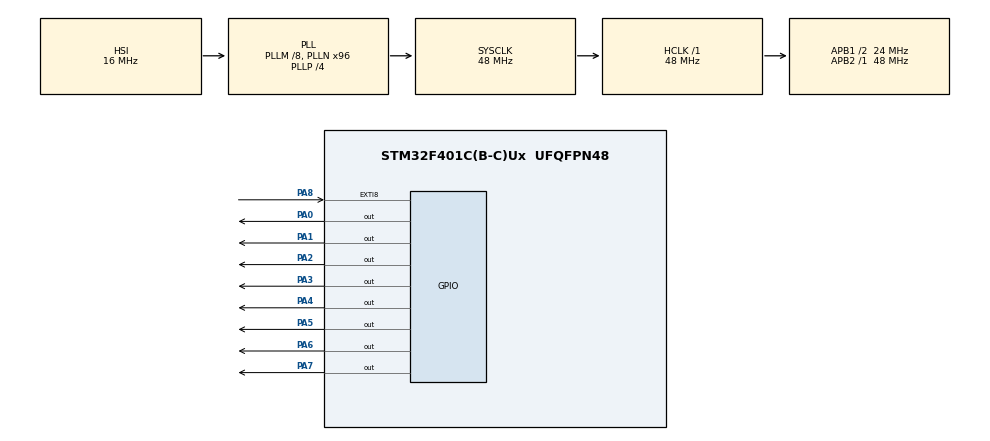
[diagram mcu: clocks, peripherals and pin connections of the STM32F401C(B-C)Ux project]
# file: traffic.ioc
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Mcu.Family=STM32F4
Mcu.Name=STM32F401C(B-C)Ux
Mcu.Package=UFQFPN48
NVIC.EXTI9_5_IRQn=true\:0\:0\:false\:false\:true\:true\:true\:true
NVIC.PriorityGroup=NVIC_PRIORITYGROUP_4
PA0-WKUP.Signal=GPIO_Output
PA1.Signal=GPIO_Output
PA2.Signal=GPIO_Output
PA3.Signal=GPIO_Output
PA4.Signal=GPIO_Output
PA5.Signal=GPIO_Output
PA6.Signal=GPIO_Output
PA7.Signal=GPIO_Output
PA8.GPIO_ModeDefaultEXTI=GPIO_MODE_IT_FALLING
PA8.GPIO_PuPd=GPIO_PULLUP
PA8.Signal=GPXTI8
PH0\ -\ OSC_IN.Mode=HSE-External-Oscillator
PH0\ -\ OSC_IN.Signal=RCC_OSC_IN
PH1\ -\ OSC_OUT.Mode=HSE-External-Oscillator
PH1\ -\ OSC_OUT.Signal=RCC_OSC_OUT
ProjectManager.HeapSize=0x200
ProjectManager.StackSize=0x400
ProjectManager.TargetToolchain=STM32CubeIDE
RCC.48MHZClocksFreq_Value=48000000
RCC.AHBFreq_Value=48000000
RCC.APB1CLKDivider=RCC_HCLK_DIV2
RCC.APB1Freq_Value=24000000
RCC.APB1TimFreq_Value=48000000
RCC.APB2Freq_Value=48000000
RCC.APB2TimFreq_Value=48000000
RCC.CortexFreq_Value=48000000
RCC.HCLKFreq_Value=48000000
RCC.HSE_VALUE=25000000
RCC.HSI_VALUE=16000000
RCC.LSE_VALUE=32768
RCC.PLLM=8
RCC.PLLN=96
RCC.PLLP=RCC_PLLP_DIV4
RCC.SYSCLKFreq_VALUE=48000000
RCC.SYSCLKSource=RCC_SYSCLKSOURCE_PLLCLK
RCC.VCOOutputFreq_Value=192000000
board=custom

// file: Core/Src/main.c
/* USER CODE BEGIN Header */
/**
 ******************************************************************************
 * @file           : main.c
 * @brief          : Main program body
 ******************************************************************************
 * @attention
 *
 * Copyright (c) 2025 STMicroelectronics.
 * All rights reserved.
 *
 * This software is licensed under terms that can be found in the LICENSE file
 * in the root directory of this software component.
 * If no LICENSE file comes with this software, it is provided AS-IS.
 *
 ******************************************************************************
 */
/* USER CODE END Header */
#include "main.h"
#include "gpio.h"

/* USER CODE BEGIN PTD */
typedef enum {
	IDLE ,
	NS_GREEN_EW_RED,
	NS_YELLOW_EW_RED,
	NS_RED_EW_GREEN,
	NS_RED_EW_YELLOW,
	NS_RED_EW_RED,
	PED_CROSSING,
} TrafficState;
TrafficState currentState = IDLE;

/* USER CODE END PTD */

/* USER CODE BEGIN PD */
#define GREEN_TIME 5000     // Duration for the green light in milliseconds
#define YELLOW_TIME 2000    // Duration for the yellow light in milliseconds
#define PED_TIME 8000       // Duration for pedestrian crossing in milliseconds
#define ALL_RED_TIME 1000   // Duration for all lights red (safety delay) in milliseconds

// Define GPIO pins for traffic light LEDs
#define NS_GREEN_LED GPIO_PIN_2  // GPIO pin for North-South green light
#define NS_YELLOW_LED GPIO_PIN_1 // GPIO pin for North-South yellow light
#define NS_RED_LED GPIO_PIN_0    // GPIO pin for North-South red light
#define EW_GREEN_LED GPIO_PIN_5  // GPIO pin for East-West green light
#define EW_YELLOW_LED GPIO_PIN_6 // GPIO pin for East-West yellow light
#define EW_RED_LED GPIO_PIN_7    // GPIO pin for East-West red light
#define PED_GREEN_LED GPIO_PIN_3 // GPIO pin for pedestrian green light
#define PED_RED_LED GPIO_PIN_4   // GPIO pin for pedestrian red light

// Define GPIO pin for pedestrian button
#define PED_BUTTON_PIN GPIO_PIN_8 // GPIO pin for pedestrian crossing button
/* USER CODE END PD */

/* USER CODE BEGIN PV */
// Global variables

/**
 * @brief Flag to indicate a pedestrian crossing request.
 *        Set to 1 when the pedestrian button is pressed, and cleared after handling the request.
 */
volatile uint8_t PedestrianRequest = 0;

/**
 * @brief Stores the timestamp of the last state transition.
 *        Used to calculate the elapsed time for each traffic light state.
 */
uint32_t lastTransitionTime = 0;

/**
 * @brief Determines the next direction for the traffic lights after the all-red state.
 *        - 1: East-West direction will turn green next.
 *        - 0: North-South direction will turn green next.
 */
uint8_t nextDirection = 1; // Default set to East-West as the next green direction after North-South

/* USER CODE END PV */

void SystemClock_Config(void);
/* USER CODE BEGIN PFP */
// Function prototypes for traffic light control system

/**
 * @brief Implements the Finite State Machine (FSM) for the traffic light system.
 *        Handles state transitions based on timing and pedestrian requests.
 */
void trafficLightFSM(void);

/**
 * @brief Updates the traffic light LEDs based on the current state.
 *        Turns on/off the appropriate LEDs for the traffic lights and pedestrian signals.
 * @param state The current state of the traffic light system.
 */
void updateLights(TrafficState state);

/* USER CODE END PFP */

int main(void)
{

	/* MCU Configuration--------------------------------------------------------*/

	/* Reset of all peripherals, Initializes the Flash interface and the Systick. */
	HAL_Init();

	/* Configure the system clock */
	SystemClock_Config();

	/* Initialize all configured peripherals */
	MX_GPIO_Init();
	/* USER CODE BEGIN 2 */
	lastTransitionTime = HAL_GetTick();

	/* USER CODE END 2 */

	/* Infinite loop */
	/* USER CODE BEGIN WHILE */
	while (1)
	{
		trafficLightFSM();
		/* USER CODE END WHILE */

	}
}

void SystemClock_Config(void)
{
	RCC_OscInitTypeDef RCC_OscInitStruct = {0};
	RCC_ClkInitTypeDef RCC_ClkInitStruct = {0};

	/** Configure the main internal regulator output voltage
	 */
	__HAL_RCC_PWR_CLK_ENABLE();
	__HAL_PWR_VOLTAGESCALING_CONFIG(PWR_REGULATOR_VOLTAGE_SCALE2);

	/** Initializes the RCC Oscillators according to the specified parameters
	 * in the RCC_OscInitTypeDef structure.
	 */
	RCC_OscInitStruct.OscillatorType = RCC_OSCILLATORTYPE_HSI;
	RCC_OscInitStruct.HSIState = RCC_HSI_ON;
	RCC_OscInitStruct.HSICalibrationValue = RCC_HSICALIBRATION_DEFAULT;
	RCC_OscInitStruct.PLL.PLLState = RCC_PLL_ON;
	RCC_OscInitStruct.PLL.PLLSource = RCC_PLLSOURCE_HSI;
	RCC_OscInitStruct.PLL.PLLM = 8;
	RCC_OscInitStruct.PLL.PLLN = 96;
	RCC_OscInitStruct.PLL.PLLP = RCC_PLLP_DIV4;
	RCC_OscInitStruct.PLL.PLLQ = 4;
	if (HAL_RCC_OscConfig(&RCC_OscInitStruct) != HAL_OK)
	{
		Error_Handler();
	}

	/** Initializes the CPU, AHB and APB buses clocks
	 */
	RCC_ClkInitStruct.ClockType = RCC_CLOCKTYPE_HCLK|RCC_CLOCKTYPE_SYSCLK
			|RCC_CLOCKTYPE_PCLK1|RCC_CLOCKTYPE_PCLK2;
	RCC_ClkInitStruct.SYSCLKSource = RCC_SYSCLKSOURCE_PLLCLK;
	RCC_ClkInitStruct.AHBCLKDivider = RCC_SYSCLK_DIV1;
	RCC_ClkInitStruct.APB1CLKDivider = RCC_HCLK_DIV2;
	RCC_ClkInitStruct.APB2CLKDivider = RCC_HCLK_DIV1;

	if (HAL_RCC_ClockConfig(&RCC_ClkInitStruct, FLASH_LATENCY_1) != HAL_OK)
	{
		Error_Handler();
	}
}

/* USER CODE BEGIN 4 */
void trafficLightFSM(void) {
	uint32_t currentTime = HAL_GetTick();   // Get the current system time in milliseconds

	switch (currentState) {
	case IDLE :
		currentState = NS_GREEN_EW_RED;    	// Start with North-South green and East-West red
		updateLights(currentState);			// Update the lights to reflect the current state
		break;

	case NS_GREEN_EW_RED:
		if ((currentTime - lastTransitionTime) >= GREEN_TIME) {// Check if the green time has elapsed
			currentState = NS_YELLOW_EW_RED;	// Transition to North-South yellow and East-West red
			lastTransitionTime = currentTime;	// Update the transition time
			updateLights(currentState);			// Update the lights to reflect the current state
		}
		break;

	case NS_YELLOW_EW_RED:
		if ((currentTime - lastTransitionTime) >= YELLOW_TIME) {// Check if the yellow time has elapsed
			currentState = NS_RED_EW_RED;			// Transition to all red state
			lastTransitionTime = currentTime;		// Update the transition time
			updateLights(currentState);				// Update the lights to reflect the current state
		}
		break;

	case NS_RED_EW_RED:
		if ((currentTime - lastTransitionTime) >= ALL_RED_TIME) {// Check if the all-red time has elapsed
			if (PedestrianRequest) {	// Check if there is a pedestrian request
				PedestrianRequest = 0;	// Clear the pedestrian request flag
				currentState = PED_CROSSING;	// Transition to pedestrian crossing state
			} else if (nextDirection == 0) { // If the next direction is North-South
				nextDirection = 1;		// Alternate to East-West for the next cycle
				currentState = NS_GREEN_EW_RED;	// Transition to North-South green and East-West red
			} else { // If the next direction is East-West
				nextDirection = 0; 		// Alternate to North-South for the next cycle
				currentState = NS_RED_EW_GREEN;	// Transition to North-South red and East-West green
			}
			lastTransitionTime = currentTime;	// Update the transition time
			updateLights(currentState);			// Update the lights to reflect the current state
		}
		break;

	case NS_RED_EW_GREEN:
		if ((currentTime - lastTransitionTime) >= GREEN_TIME) {// Check if the green time has elapsed
			currentState = NS_RED_EW_YELLOW;	// Transition to North-South red and East-West yellow
			lastTransitionTime = currentTime;	// Update the transition time
			updateLights(currentState);			// Update the lights for the new state
		}
		break;

	case NS_RED_EW_YELLOW:
		if ((currentTime - lastTransitionTime) >= YELLOW_TIME) {// Check if the yellow time has elapsed
			currentState = NS_RED_EW_RED;		// Transition to all red state
			lastTransitionTime = currentTime;	// Update the transition time
			updateLights(currentState);			// Update the lights for the new state
		}
		break;

	case PED_CROSSING:
		if ((currentTime - lastTransitionTime) >= PED_TIME) {// Check if the pedestrian crossing time has elapsed
			currentState = NS_RED_EW_RED;		// Transition back to the all red state
			lastTransitionTime = currentTime;	// Update the transition time
			updateLights(currentState);			// Update the lights for the new state
		}
		break;

	default:
		currentState = NS_GREEN_EW_RED;			// Default state if something unexpected occurs
		break;
	}
}

void updateLights(TrafficState state) {
	// Turn off all LEDs
	HAL_GPIO_WritePin(GPIOA, NS_GREEN_LED | NS_YELLOW_LED | NS_RED_LED |
			EW_GREEN_LED | EW_YELLOW_LED | EW_RED_LED |
			PED_GREEN_LED | PED_RED_LED, GPIO_PIN_RESET);

	// Turn on the LEDs for the current state
	switch (state) {
	case NS_GREEN_EW_RED:
		HAL_GPIO_WritePin(GPIOA, NS_GREEN_LED | EW_RED_LED, GPIO_PIN_SET); // Turn on NS green and EW red
		HAL_GPIO_WritePin(GPIOA, PED_RED_LED, GPIO_PIN_SET); // Keep pedestrian light red
		break;

	case NS_YELLOW_EW_RED:
		HAL_GPIO_WritePin(GPIOA, NS_YELLOW_LED | EW_RED_LED, GPIO_PIN_SET); // Turn on NS yellow and EW red
		HAL_GPIO_WritePin(GPIOA, PED_RED_LED, GPIO_PIN_SET); // Keep pedestrian light red
		break;

	case NS_RED_EW_GREEN:
		HAL_GPIO_WritePin(GPIOA, NS_RED_LED | EW_GREEN_LED, GPIO_PIN_SET); // Turn on NS red and EW green
		HAL_GPIO_WritePin(GPIOA, PED_RED_LED, GPIO_PIN_SET); // Keep pedestrian light red
		break;

	case NS_RED_EW_YELLOW:
		HAL_GPIO_WritePin(GPIOA, NS_RED_LED | EW_YELLOW_LED, GPIO_PIN_SET); // Turn on NS red and EW yellow
		HAL_GPIO_WritePin(GPIOA, PED_RED_LED, GPIO_PIN_SET); // Keep pedestrian light red
		break;

	case PED_CROSSING:
		HAL_GPIO_WritePin(GPIOA, NS_RED_LED | EW_RED_LED | PED_GREEN_LED, GPIO_PIN_SET); // All directions red, pedestrian green
		break;

	case NS_RED_EW_RED:
		HAL_GPIO_WritePin(GPIOA, NS_RED_LED | EW_RED_LED, GPIO_PIN_SET); // Turn on NS red and EW red
		HAL_GPIO_WritePin(GPIOA, PED_RED_LED, GPIO_PIN_SET); // Keep pedestrian light red
		break;
	}
}

void HAL_GPIO_EXTI_Callback(uint16_t GPIO_Pin) {
	if (GPIO_Pin == PED_BUTTON_PIN) {// Check if the interrupt was caused by the pedestrian button
		PedestrianRequest = 1; // Set pedestrian request
	}
}
/* USER CODE END 4 */

void Error_Handler(void)
{
	__disable_irq();
	while (1)
	{
	}
}
